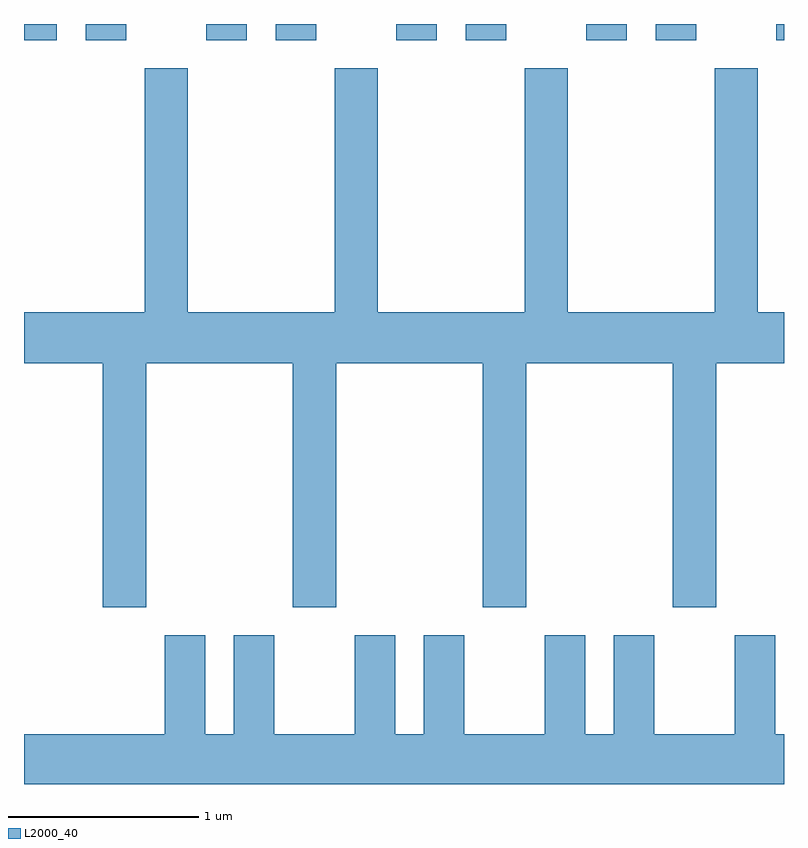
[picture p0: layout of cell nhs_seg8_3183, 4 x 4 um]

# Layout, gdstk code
import gdstk
lib = gdstk.Library(unit=1e-6, precision=1e-09)
def R(c, l, rs):  # rectangles x0, y0, x1, y1
    for r in rs: c.add(gdstk.rectangle(r[:2], r[2:], *l))
def P(c, l, *ps):  # polygons
    for p in ps: c.add(gdstk.Polygon(p, *l))
L2000_40 = (2000, 40)

nhs_seg8_3183 = lib.new_cell('nhs_seg8_3183')
R(nhs_seg8_3183, L2000_40, [(279.611,1920.256,279.784,1920.342), (279.936,1920.256,280.149,1920.342), (280.571,1920.256,280.784,1920.342), (280.936,1920.256,281.149,1920.342), (281.571,1920.256,281.784,1920.342), (281.936,1920.256,282.149,1920.342), (282.571,1920.256,282.784,1920.342), (282.936,1920.256,283.149,1920.342), (283.571,1920.256,283.611,1920.342)])
P(nhs_seg8_3183, L2000_40, [(280.254,1918.556),(281.026,1918.556),(281.026,1917.271),(281.254,1917.271),(281.254,1918.556),(282.026,1918.556),(282.026,1917.271),(282.254,1917.271),(282.254,1918.556),(283.026,1918.556),(283.026,1917.271),(283.254,1917.271),(283.254,1918.556),(283.611,1918.556),(283.611,1918.824),(283.474,1918.824),(283.474,1920.109),(283.246,1920.109),(283.246,1918.824),(282.474,1918.824),(282.474,1920.109),(282.246,1920.109),(282.246,1918.824),(281.474,1918.824),(281.474,1920.109),(281.246,1920.109),(281.246,1918.824),(280.474,1918.824),(280.474,1920.109),(280.246,1920.109),(280.246,1918.824),(279.611,1918.824),(279.611,1918.556),(280.026,1918.556),(280.026,1917.271),(280.254,1917.271)],
  [(283.611,1916.604),(283.564,1916.604),(283.564,1917.124),(283.351,1917.124),(283.351,1916.604),(282.929,1916.604),(282.929,1917.124),(282.716,1917.124),(282.716,1916.604),(282.564,1916.604),(282.564,1917.124),(282.351,1917.124),(282.351,1916.604),(281.929,1916.604),(281.929,1917.124),(281.716,1917.124),(281.716,1916.604),(281.564,1916.604),(281.564,1917.124),(281.351,1917.124),(281.351,1916.604),(280.929,1916.604),(280.929,1917.124),(280.716,1917.124),(280.716,1916.604),(280.564,1916.604),(280.564,1917.124),(280.351,1917.124),(280.351,1916.604),(279.611,1916.604),(279.611,1916.342),(283.611,1916.342)])

lib.write_gds('nhs_seg8_3183.gds')
